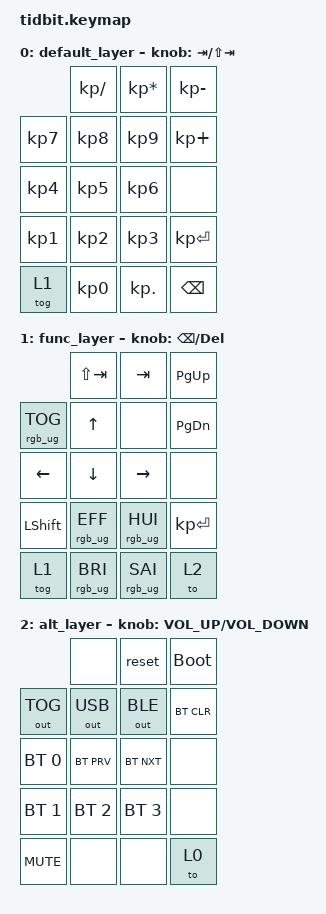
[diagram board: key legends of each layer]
/*
 * Copyright (c) 2020 The ZMK Contributors
 *
 * SPDX-License-Identifier: MIT
 */

#include <behaviors.dtsi>
#include <dt-bindings/zmk/bt.h>
#include <dt-bindings/zmk/outputs.h>
#include <dt-bindings/zmk/rgb.h>
#include <dt-bindings/zmk/keys.h>
#include <dt-bindings/zmk/ext_power.h>

#define DEFAULT 0
#define FUNC    1
#define ALT     2

&encoder_1_top_row {
	status = "disabled";
};

&encoder_4 {
	status = "okay";
};

/ {
	sensors {
		compatible = "zmk,keymap-sensors";
		sensors = <&encoder_4>;
	};

	keymap {
		compatible = "zmk,keymap";	
		default_layer {
			bindings = <
						   &kp KP_SLASH     &kp KP_ASTERISK  &kp KP_MINUS
				&kp KP_NUMBER_7    &kp KP_NUMBER_8  &kp KP_NUMBER_9  &kp KP_PLUS
				&kp KP_NUMBER_4    &kp KP_NUMBER_5  &kp KP_NUMBER_6  &none
				&kp KP_NUMBER_1    &kp KP_NUMBER_2  &kp KP_NUMBER_3  &kp KP_ENTER
				&tog 1             &kp KP_NUMBER_0  &kp KP_DOT       &kp BSPC
			>;

			sensor-bindings = <&inc_dec_kp TAB LS(TAB)>;
		};

		 func_layer {
			 bindings = <
						 &kp LS(TAB)      &kp TAB          &kp PG_UP
				&rgb_ug RGB_TOG  &kp UP           &none            &kp PG_DN
				&kp LEFT         &kp DOWN         &kp RIGHT        &none
				&kp LSHFT        &rgb_ug RGB_EFF  &rgb_ug RGB_HUI  &kp KP_ENTER
				&tog 1           &rgb_ug RGB_BRI  &rgb_ug RGB_SAI  &to 2
			 >;

			 sensor-bindings = <&inc_dec_kp BSPC DEL>;
		 };
		  alt_layer {
			 bindings = <
						&none           &reset          &bootloader
				&out OUT_TOG    &out OUT_USB    &out OUT_BLE    &bt BT_CLR
				&bt BT_SEL 0    &bt BT_PRV      &bt BT_NXT      &none
				&bt BT_SEL 1    &bt BT_SEL 2    &bt BT_SEL 3    &none
				&kp C_MUTE      &none           &none           &to 0			 >;

			 sensor-bindings = <&inc_dec_kp C_VOLUME_UP C_VOLUME_DOWN>;
		 };
	};
};
